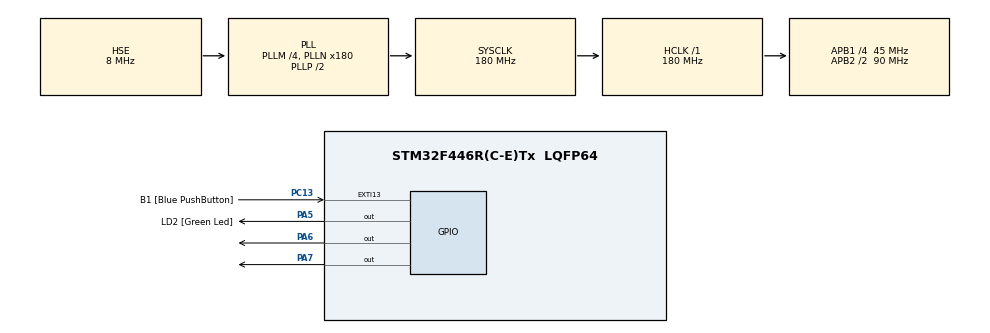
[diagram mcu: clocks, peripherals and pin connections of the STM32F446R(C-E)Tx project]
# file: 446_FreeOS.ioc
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FREERTOS.Tasks01=defaultTask,0,128,StartDefaultTask,Default
Mcu.Family=STM32F4
Mcu.Name=STM32F446R(C-E)Tx
Mcu.Package=LQFP64
NVIC.PriorityGroup=NVIC_PRIORITYGROUP_4
NVIC.TIM1_UP_TIM10_IRQn=true\:0\:0\:false\:false\:true\:false
NVIC.TIM2_IRQn=true\:5\:0\:false\:false\:true\:true
NVIC.TimeBase=TIM1_UP_TIM10_IRQn
NVIC.TimeBaseIP=TIM1
PA13.GPIO_Label=TMS
PA13.Signal=SYS_JTMS-SWDIO
PA14.GPIO_Label=TCK
PA14.Signal=SYS_JTCK-SWCLK
PA2.GPIO_Label=USART_TX
PA2.Signal=USART2_TX
PA3.GPIO_Label=USART_RX
PA3.Signal=USART2_RX
PA5.GPIO_Label=LD2 [Green Led]
PA5.Signal=GPIO_Output
PA6.Signal=GPIO_Output
PA7.Signal=GPIO_Output
PB3.GPIO_Label=SWO
PB3.Signal=SYS_JTDO-SWO
PC13.GPIO_Label=B1 [Blue PushButton]
PC13.GPIO_ModeDefaultEXTI=GPIO_MODE_EVT_RISING
PC13.Signal=GPXTI13
PC14-OSC32_IN.Signal=RCC_OSC32_IN
PC15-OSC32_OUT.Signal=RCC_OSC32_OUT
PH0-OSC_IN.Mode=HSE-External-Oscillator
PH0-OSC_IN.Signal=RCC_OSC_IN
PH1-OSC_OUT.Mode=HSE-External-Oscillator
PH1-OSC_OUT.Signal=RCC_OSC_OUT
ProjectManager.HeapSize=0x200
ProjectManager.StackSize=0x400
ProjectManager.TargetToolchain=TrueSTUDIO
RCC.AHBFreq_Value=180000000
RCC.APB1CLKDivider=RCC_HCLK_DIV4
RCC.APB1Freq_Value=45000000
RCC.APB1TimFreq_Value=90000000
RCC.APB2CLKDivider=RCC_HCLK_DIV2
RCC.APB2Freq_Value=90000000
RCC.APB2TimFreq_Value=180000000
RCC.CortexFreq_Value=180000000
RCC.FLatency-AdvancedSettings=FLASH_LATENCY_5
RCC.HCLKFreq_Value=180000000
RCC.HSE_VALUE=8000000
RCC.HSI_VALUE=16000000
RCC.LSE_VALUE=32768
RCC.PLLM=4
RCC.PLLN=180
RCC.PLLSourceVirtual=RCC_PLLSOURCE_HSE
RCC.SYSCLKFreq_VALUE=180000000
RCC.SYSCLKSource=RCC_SYSCLKSOURCE_PLLCLK
RCC.USBFreq_Value=180000000
RCC.VCOOutputFreq_Value=360000000
TIM2.Period=9999
TIM2.Prescaler=8999
VP_FREERTOS_VS_ENABLE.Mode=Enabled
VP_SYS_VS_tim1.Mode=TIM1
VP_TIM2_VS_ClockSourceINT.Mode=Internal
board=NUCLEO-F446RE

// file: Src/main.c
/**
  ******************************************************************************
  * File Name          : main.c
  * Description        : Main program body
  ******************************************************************************
  *
  * Copyright (c) 2016 STMicroelectronics International N.V.
  * All rights reserved.
  *
  * Redistribution and use in source and binary forms, with or without
  * modification, are permitted, provided that the following conditions are met:
  *
  * 1. Redistribution of source code must retain the above copyright notice,
  *    this list of conditions and the following disclaimer.
  * 2. Redistributions in binary form must reproduce the above copyright notice,
  *    this list of conditions and the following disclaimer in the documentation
  *    and/or other materials provided with the distribution.
  * 3. Neither the name of STMicroelectronics nor the names of other
  *    contributors to this software may be used to endorse or promote products
  *    derived from this software without specific written permission.
  * 4. This software, including modifications and/or derivative works of this
  *    software, must execute solely and exclusively on microcontroller or
  *    microprocessor devices manufactured by or for STMicroelectronics.
  * 5. Redistribution and use of this software other than as permitted under
  *    this license is void and will automatically terminate your rights under
  *    this license.
  *
  * THIS SOFTWARE IS PROVIDED BY STMICROELECTRONICS AND CONTRIBUTORS "AS IS"
  * AND ANY EXPRESS, IMPLIED OR STATUTORY WARRANTIES, INCLUDING, BUT NOT
  * LIMITED TO, THE IMPLIED WARRANTIES OF MERCHANTABILITY, FITNESS FOR A
  * PARTICULAR PURPOSE AND NON-INFRINGEMENT OF THIRD PARTY INTELLECTUAL PROPERTY
  * RIGHTS ARE DISCLAIMED TO THE FULLEST EXTENT PERMITTED BY LAW. IN NO EVENT
  * SHALL STMICROELECTRONICS OR CONTRIBUTORS BE LIABLE FOR ANY DIRECT, INDIRECT,
  * INCIDENTAL, SPECIAL, EXEMPLARY, OR CONSEQUENTIAL DAMAGES (INCLUDING, BUT NOT
  * LIMITED TO, PROCUREMENT OF SUBSTITUTE GOODS OR SERVICES; LOSS OF USE, DATA,
  * OR PROFITS; OR BUSINESS INTERRUPTION) HOWEVER CAUSED AND ON ANY THEORY OF
  * LIABILITY, WHETHER IN CONTRACT, STRICT LIABILITY, OR TORT (INCLUDING
  * NEGLIGENCE OR OTHERWISE) ARISING IN ANY WAY OUT OF THE USE OF THIS SOFTWARE,
  * EVEN IF ADVISED OF THE POSSIBILITY OF SUCH DAMAGE.
  *
  ******************************************************************************
  */
#include "main.h"
#include "stm32f4xx_hal.h"
#include "cmsis_os.h"

TIM_HandleTypeDef htim2;

osThreadId defaultTaskHandle;

/* USER CODE BEGIN PV */
/* Private variables ---------------------------------------------------------*/
osThreadId defaultTaskHandlenew;
osThreadId defaultTaskHandlenew2;

/* USER CODE END PV */

void SystemClock_Config(void);
void Error_Handler(void);
static void MX_GPIO_Init(void);
static void MX_TIM2_Init(void);
void StartDefaultTask(void const * argument);

/* USER CODE BEGIN PFP */
/* Private function prototypes -----------------------------------------------*/
void StartDefaultTasknew(void const * argument);
void StartDefaultTasknew2(void const * argument);

/* USER CODE END PFP */

int main(void)
{

  /* MCU Configuration----------------------------------------------------------*/

  /* Reset of all peripherals, Initializes the Flash interface and the Systick. */
  HAL_Init();

  /* Configure the system clock */
  SystemClock_Config();

  /* Initialize all configured peripherals */
  MX_GPIO_Init();
  MX_TIM2_Init();

  /* USER CODE BEGIN 2 */
  while(HAL_TIM_Base_Start_IT(&htim2)!=HAL_OK);

  /* USER CODE END 2 */

  /* Create the thread(s) */
  /* definition and creation of defaultTask */
  osThreadDef(defaultTask, StartDefaultTask, osPriorityNormal, 0, 128);
  defaultTaskHandle = osThreadCreate(osThread(defaultTask), NULL);

  /* USER CODE BEGIN RTOS_THREADS */
  /* add threads, ... */
  osThreadDef(defaultTasknew, StartDefaultTasknew, osPriorityNormal, 0, 128);
  defaultTaskHandlenew = osThreadCreate(osThread(defaultTasknew), NULL);

  //osThreadDef(defaultTasknew2, StartDefaultTasknew2, osPriorityNormal, 0, 128);
  //defaultTaskHandlenew2 = osThreadCreate(osThread(defaultTasknew2), NULL);
  /* USER CODE END RTOS_THREADS */

  /* Start scheduler */
  osKernelStart();

  /* We should never get here as control is now taken by the scheduler */

  /* Infinite loop */
  while (1)
  {

  }

}

/** System Clock Configuration
*/
void SystemClock_Config(void)
{

  RCC_OscInitTypeDef RCC_OscInitStruct;
  RCC_ClkInitTypeDef RCC_ClkInitStruct;

    /**Configure the main internal regulator output voltage
    */
  __HAL_RCC_PWR_CLK_ENABLE();

  __HAL_PWR_VOLTAGESCALING_CONFIG(PWR_REGULATOR_VOLTAGE_SCALE1);

    /**Initializes the CPU, AHB and APB busses clocks
    */
  RCC_OscInitStruct.OscillatorType = RCC_OSCILLATORTYPE_HSE;
  RCC_OscInitStruct.HSEState = RCC_HSE_ON;
  RCC_OscInitStruct.PLL.PLLState = RCC_PLL_ON;
  RCC_OscInitStruct.PLL.PLLSource = RCC_PLLSOURCE_HSE;
  RCC_OscInitStruct.PLL.PLLM = 4;
  RCC_OscInitStruct.PLL.PLLN = 180;
  RCC_OscInitStruct.PLL.PLLP = RCC_PLLP_DIV2;
  RCC_OscInitStruct.PLL.PLLQ = 2;
  RCC_OscInitStruct.PLL.PLLR = 2;
  if (HAL_RCC_OscConfig(&RCC_OscInitStruct) != HAL_OK)
  {
    Error_Handler();
  }

    /**Activate the Over-Drive mode
    */
  if (HAL_PWREx_EnableOverDrive() != HAL_OK)
  {
    Error_Handler();
  }

    /**Initializes the CPU, AHB and APB busses clocks
    */
  RCC_ClkInitStruct.ClockType = RCC_CLOCKTYPE_HCLK|RCC_CLOCKTYPE_SYSCLK
                              |RCC_CLOCKTYPE_PCLK1|RCC_CLOCKTYPE_PCLK2;
  RCC_ClkInitStruct.SYSCLKSource = RCC_SYSCLKSOURCE_PLLCLK;
  RCC_ClkInitStruct.AHBCLKDivider = RCC_SYSCLK_DIV1;
  RCC_ClkInitStruct.APB1CLKDivider = RCC_HCLK_DIV4;
  RCC_ClkInitStruct.APB2CLKDivider = RCC_HCLK_DIV2;

  if (HAL_RCC_ClockConfig(&RCC_ClkInitStruct, FLASH_LATENCY_5) != HAL_OK)
  {
    Error_Handler();
  }

    /**Configure the Systick interrupt time
    */
  HAL_SYSTICK_Config(HAL_RCC_GetHCLKFreq()/1000);

    /**Configure the Systick
    */
  HAL_SYSTICK_CLKSourceConfig(SYSTICK_CLKSOURCE_HCLK);

  /* SysTick_IRQn interrupt configuration */
  HAL_NVIC_SetPriority(SysTick_IRQn, 15, 0);
}

/* TIM2 init function */
static void MX_TIM2_Init(void)
{

  TIM_ClockConfigTypeDef sClockSourceConfig;
  TIM_MasterConfigTypeDef sMasterConfig;

  htim2.Instance = TIM2;
  htim2.Init.Prescaler = 8999;
  htim2.Init.CounterMode = TIM_COUNTERMODE_UP;
  htim2.Init.Period = 4999;
  htim2.Init.ClockDivision = TIM_CLOCKDIVISION_DIV1;
  if (HAL_TIM_Base_Init(&htim2) != HAL_OK)
  {
    Error_Handler();
  }

  sClockSourceConfig.ClockSource = TIM_CLOCKSOURCE_INTERNAL;
  if (HAL_TIM_ConfigClockSource(&htim2, &sClockSourceConfig) != HAL_OK)
  {
    Error_Handler();
  }

  sMasterConfig.MasterOutputTrigger = TIM_TRGO_RESET;
  sMasterConfig.MasterSlaveMode = TIM_MASTERSLAVEMODE_DISABLE;
  if (HAL_TIMEx_MasterConfigSynchronization(&htim2, &sMasterConfig) != HAL_OK)
  {
    Error_Handler();
  }

}

/** Configure pins as
        * Analog
        * Input
        * Output
        * EVENT_OUT
        * EXTI
     PA2   ------> USART2_TX
     PA3   ------> USART2_RX
*/
static void MX_GPIO_Init(void)
{

  GPIO_InitTypeDef GPIO_InitStruct;

  /* GPIO Ports Clock Enable */
  __HAL_RCC_GPIOC_CLK_ENABLE();
  __HAL_RCC_GPIOH_CLK_ENABLE();
  __HAL_RCC_GPIOA_CLK_ENABLE();
  __HAL_RCC_GPIOB_CLK_ENABLE();

  /*Configure GPIO pin : B1_Pin */
  GPIO_InitStruct.Pin = B1_Pin;
  GPIO_InitStruct.Mode = GPIO_MODE_EVT_RISING;
  GPIO_InitStruct.Pull = GPIO_NOPULL;
  HAL_GPIO_Init(B1_GPIO_Port, &GPIO_InitStruct);

  /*Configure GPIO pins : USART_TX_Pin USART_RX_Pin */
  GPIO_InitStruct.Pin = USART_TX_Pin|USART_RX_Pin;
  GPIO_InitStruct.Mode = GPIO_MODE_AF_PP;
  GPIO_InitStruct.Pull = GPIO_NOPULL;
  GPIO_InitStruct.Speed = GPIO_SPEED_FREQ_VERY_HIGH;
  GPIO_InitStruct.Alternate = GPIO_AF7_USART2;
  HAL_GPIO_Init(GPIOA, &GPIO_InitStruct);

  /*Configure GPIO pins : LD2_Pin PA6 PA7 */
  GPIO_InitStruct.Pin = LD2_Pin|GPIO_PIN_6|GPIO_PIN_7;
  GPIO_InitStruct.Mode = GPIO_MODE_OUTPUT_PP;
  GPIO_InitStruct.Pull = GPIO_NOPULL;
  GPIO_InitStruct.Speed = GPIO_SPEED_FREQ_LOW;
  HAL_GPIO_Init(GPIOA, &GPIO_InitStruct);

  /*Configure GPIO pin Output Level */
  HAL_GPIO_WritePin(GPIOA, LD2_Pin|GPIO_PIN_6|GPIO_PIN_7, GPIO_PIN_RESET);

}

/* USER CODE BEGIN 4 */
void StartDefaultTasknew(void const * argument)
{

  /* USER CODE BEGIN 5 */
  /* Infinite loop */
  for(;;)
  {
    HAL_GPIO_TogglePin(GPIOA, GPIO_PIN_6);
    osDelay(100);
  }
}

void StartDefaultTasknew2(void const * argument)
{

  /* USER CODE BEGIN 5 */
  /* Infinite loop */
  for(;;)
  {
    HAL_GPIO_TogglePin(GPIOA, GPIO_PIN_7);
    osDelay(500);
  }
}
/* USER CODE END 4 */

/* StartDefaultTask function */
void StartDefaultTask(void const * argument)
{

  /* USER CODE BEGIN 5 */
  /* Infinite loop */
  for(;;)
  {
    HAL_GPIO_TogglePin(GPIOA, LD2_Pin);
    osDelay(250);
  }
  /* USER CODE END 5 */
}

void HAL_TIM_PeriodElapsedCallback(TIM_HandleTypeDef *htim)
{
  if (htim->Instance == TIM1) {
    HAL_IncTick();
  }
  else if (htim->Instance == TIM2)
  {
	    HAL_GPIO_TogglePin(GPIOA, GPIO_PIN_7);
  }
}

void Error_Handler(void)
{
  while(1)
  {
  }
}

/************************ (C) COPYRIGHT STMicroelectronics *****END OF FILE****/
